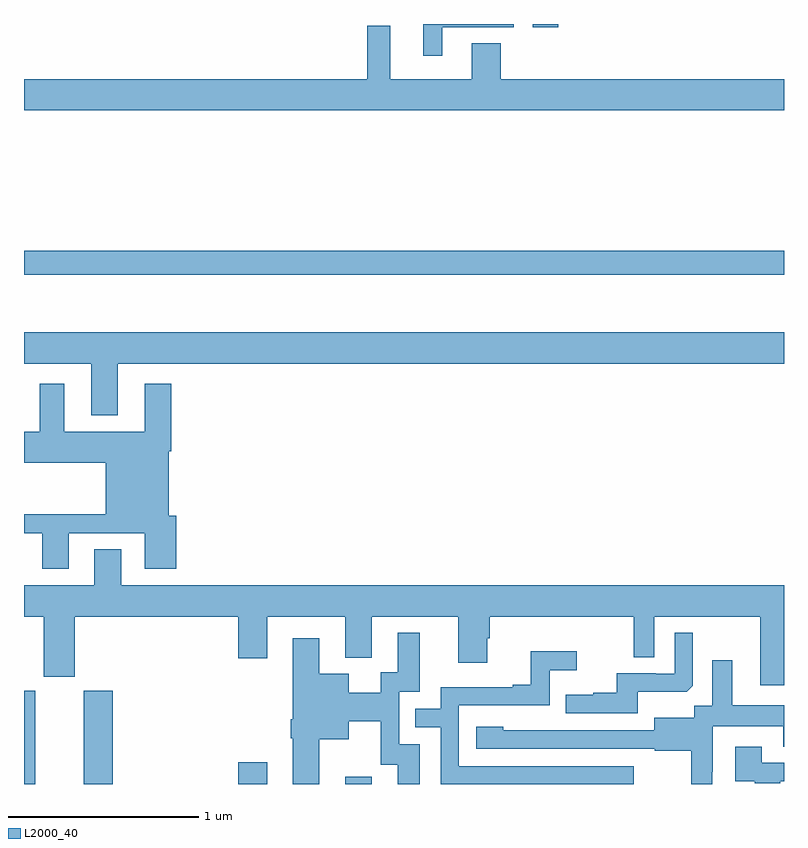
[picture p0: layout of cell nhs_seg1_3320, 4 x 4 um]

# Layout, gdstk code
import gdstk
lib = gdstk.Library(unit=1e-6, precision=1e-09)
def R(c, l, rs):  # rectangles x0, y0, x1, y1
    for r in rs: c.add(gdstk.rectangle(r[:2], r[2:], *l))
def P(c, l, *ps):  # polygons
    for p in ps: c.add(gdstk.Polygon(p, *l))
L2000_40 = (2000, 40)

nhs_seg1_3320 = lib.new_cell('nhs_seg1_3320')
R(nhs_seg1_3320, L2000_40, [(291,536.199,291.058,536.691), (291.314,536.199,291.467,536.691), (292.127,536.199,292.279,536.314), (292.691,536.199,292.831,536.236), (291,538.878,295,539.006), (293.678,540.183,293.813,540.199)])
P(nhs_seg1_3320, L2000_40, [(293.2,540.183),(293.578,540.183),(293.578,540.199),(293.102,540.199),(293.102,540.033),(293.2,540.033)],
  [(295,539.908),(293.51,539.908),(293.51,540.098),(293.357,540.098),(293.357,539.908),(292.927,539.908),(292.927,540.19),(292.806,540.19),(292.806,539.908),(291,539.908),(291,539.744),(295,539.744)],
  [(291.493,538.412),(295,538.412),(295,538.576),(291,538.576),(291,538.412),(291.353,538.412),(291.353,538.139),(291.493,538.139)],
  [(291.235,537.519),(291.635,537.519),(291.635,537.333),(291.8,537.333),(291.8,537.612),(291.763,537.612),(291.763,537.95),(291.776,537.95),(291.776,538.306),(291.635,538.306),(291.635,538.054),(291.211,538.054),(291.211,538.306),(291.083,538.306),(291.083,538.054),(291,538.054),(291,537.89),(291.431,537.89),(291.431,537.62),(291,537.62),(291,537.519),(291.095,537.519),(291.095,537.333),(291.235,537.333)],
  [(292.127,536.862),(292.279,536.862),(292.279,537.08),(292.691,537.08),(292.691,536.864),(292.831,536.864),(292.831,537.08),(293.285,537.08),(293.285,536.838),(293.437,536.838),(293.437,536.967),(293.45,536.967),(293.45,537.08),(294.21,537.08),(294.21,536.866),(294.318,536.866),(294.318,537.08),(294.875,537.08),(294.875,536.718),(295,536.718),(295,537.244),(291.511,537.244),(291.511,537.434),(291.371,537.434),(291.371,537.244),(291,537.244),(291,537.08),(291.104,537.08),(291.104,536.763),(291.268,536.763),(291.268,537.08),(292.127,537.08)],
  [(294.229,536.684),(294.487,536.684),(294.519,536.715),(294.519,536.995),(294.426,536.995),(294.426,536.778),(294.326,536.778),(294.326,536.781),(294.119,536.781),(294.119,536.68),(293.995,536.68),(293.995,536.668),(293.851,536.668),(293.851,536.571),(294.229,536.571)],
  [(292.555,536.435),(292.708,536.435),(292.708,536.528),(292.878,536.528),(292.878,536.301),(292.967,536.301),(292.967,536.199),(293.083,536.199),(293.083,536.409),(292.974,536.409),(292.974,536.685),(293.083,536.685),(293.083,536.995),(292.967,536.995),(292.967,536.786),(292.877,536.786),(292.877,536.68),(292.708,536.68),(292.708,536.779),(292.555,536.779),(292.555,536.965),(292.415,536.965),(292.415,536.539),(292.403,536.539),(292.403,536.439),(292.415,536.439),(292.415,536.199),(292.555,536.199)],
  [(294.208,536.292),(293.289,536.292),(293.289,536.613),(293.766,536.613),(293.766,536.798),(293.908,536.798),(293.908,536.897),(293.668,536.897),(293.668,536.722),(293.573,536.722),(293.573,536.709),(293.193,536.709),(293.193,536.595),(293.059,536.595),(293.059,536.499),(293.193,536.499),(293.193,536.199),(294.208,536.199)],
  [(294.622,536.263),(294.624,536.263),(294.624,536.504),(294.995,536.504),(294.995,536.395),(295,536.395),(295,536.614),(294.727,536.614),(294.727,536.851),(294.623,536.851),(294.623,536.612),(294.528,536.612),(294.528,536.548),(294.317,536.548),(294.317,536.481),(293.759,536.481),(293.759,536.482),(293.523,536.482),(293.523,536.5),(293.379,536.5),(293.379,536.385),(294.321,536.385),(294.321,536.373),(294.513,536.373),(294.513,536.199),(294.622,536.199)],
  [(294.979,536.213),(295,536.213),(295,536.31),(294.883,536.31),(294.883,536.395),(294.743,536.395),(294.743,536.214),(294.847,536.214),(294.847,536.202),(294.979,536.202)])

lib.write_gds('nhs_seg1_3320.gds')
